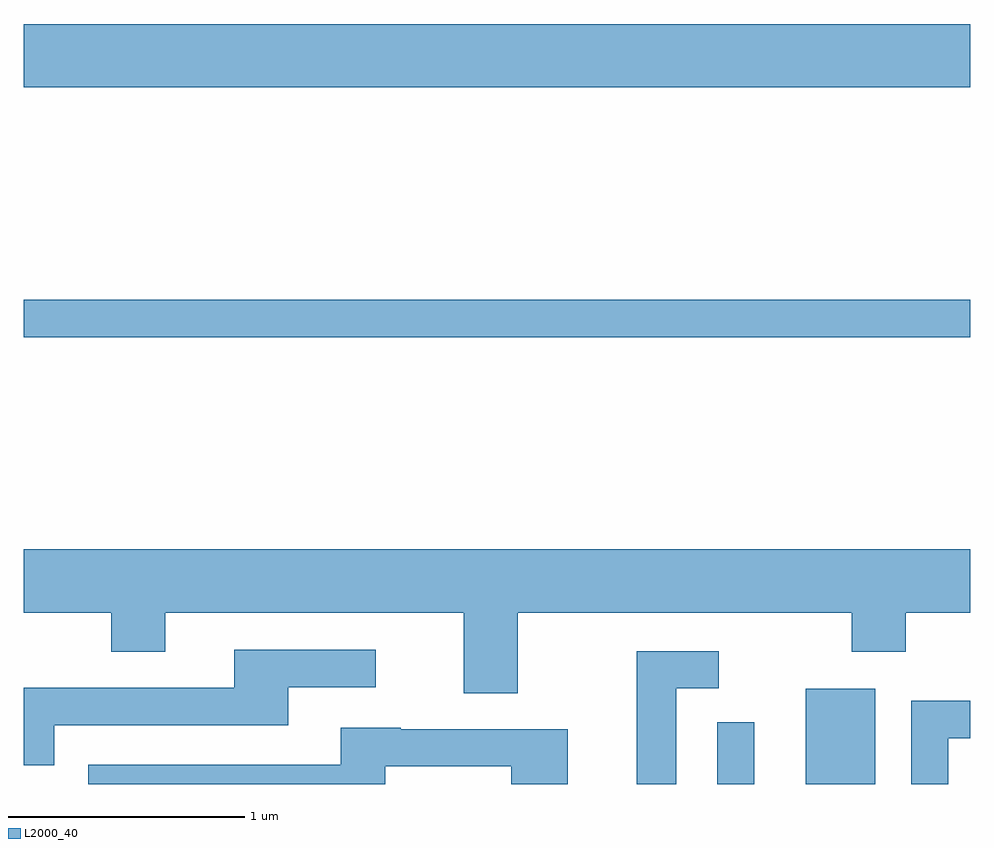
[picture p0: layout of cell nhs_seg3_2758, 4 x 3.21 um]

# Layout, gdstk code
import gdstk
lib = gdstk.Library(unit=1e-6, precision=1e-09)
def R(c, l, rs):  # rectangles x0, y0, x1, y1
    for r in rs: c.add(gdstk.rectangle(r[:2], r[2:], *l))
def P(c, l, *ps):  # polygons
    for p in ps: c.add(gdstk.Polygon(p, *l))
L2000_40 = (2000, 40)

nhs_seg3_2758 = lib.new_cell('nhs_seg3_2758')
R(nhs_seg3_2758, L2000_40, [(268.541,1191.892,268.699,1192.153), (268.916,1191.892,269.209,1192.294), (265.611,1193.781,269.611,1193.939), (265.611,1194.836,269.611,1195.104)])
P(nhs_seg3_2758, L2000_40, [(267.699,1192.616),(269.111,1192.616),(269.111,1192.451),(269.339,1192.451),(269.339,1192.616),(269.611,1192.616),(269.611,1192.884),(265.611,1192.884),(265.611,1192.616),(265.981,1192.616),(265.981,1192.451),(266.209,1192.451),(266.209,1192.616),(267.471,1192.616),(267.471,1192.276),(267.699,1192.276)],
  [(265.739,1192.141),(266.729,1192.141),(266.729,1192.301),(267.098,1192.301),(267.098,1192.459),(266.501,1192.459),(266.501,1192.299),(265.611,1192.299),(265.611,1191.971),(265.739,1191.971)],
  [(268.369,1192.296),(268.548,1192.296),(268.548,1192.454),(268.201,1192.454),(268.201,1191.892),(268.369,1191.892)],
  [(269.519,1192.086),(269.611,1192.086),(269.611,1192.244),(269.361,1192.244),(269.361,1191.892),(269.519,1191.892)],
  [(267.139,1191.966),(267.671,1191.966),(267.671,1191.892),(267.909,1191.892),(267.909,1192.124),(267.205,1192.124),(267.205,1192.129),(266.951,1192.129),(266.951,1191.974),(265.883,1191.974),(265.883,1191.892),(267.139,1191.892)])

lib.write_gds('nhs_seg3_2758.gds')
